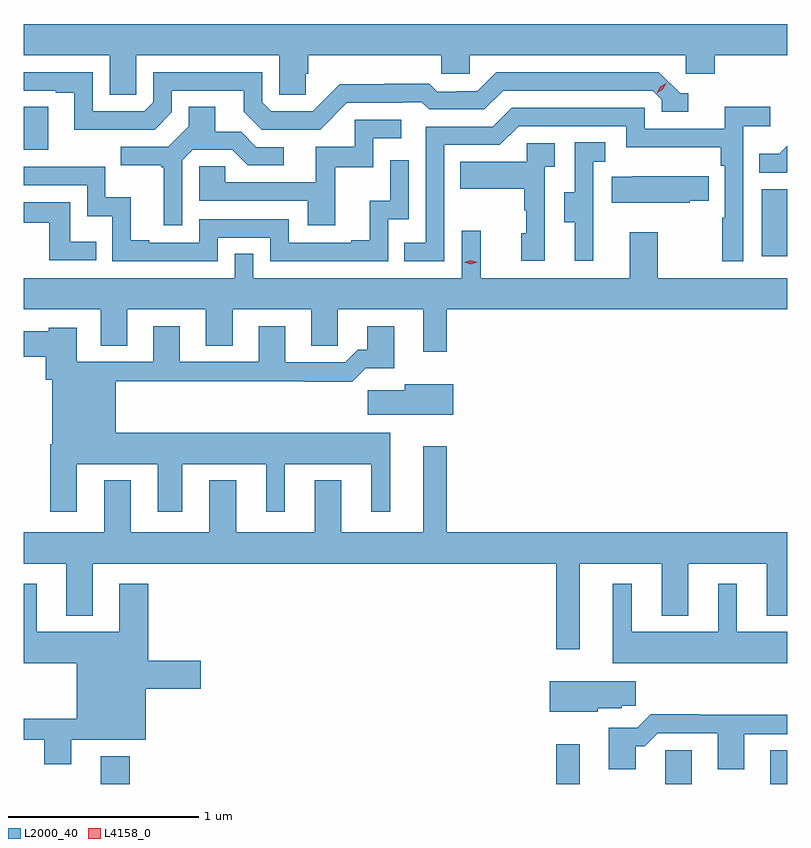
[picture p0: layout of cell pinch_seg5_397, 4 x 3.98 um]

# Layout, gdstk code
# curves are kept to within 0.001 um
import gdstk
lib = gdstk.Library(unit=1e-6, precision=1e-09)
def R(c, l, rs):  # rectangles x0, y0, x1, y1
    for r in rs: c.add(gdstk.rectangle(r[:2], r[2:], *l))
def P(c, l, *ps):  # polygons
    for p in ps: c.add(gdstk.Polygon(p, *l))
L2000_40 = (2000, 40)
L4158_0 = (4158, 0)

pinch_seg5_397 = lib.new_cell('pinch_seg5_397')
R(pinch_seg5_397, L2000_40, [(949.757,867.593,949.91,867.739), (952.146,867.593,952.267,867.802), (952.716,867.593,952.855,867.77), (953.267,867.593,953.355,867.77), (953.222,870.36,953.355,870.711), (949.355,870.918,949.483,871.142)])
P(pinch_seg5_397, L2000_40, [(949.944,871.412),(950.694,871.412),(950.694,871.204),(950.831,871.204),(950.831,871.314),(950.846,871.314),(950.846,871.412),(951.543,871.412),(951.543,871.314),(951.693,871.314),(951.693,871.412),(952.824,871.412),(952.824,871.314),(952.976,871.314),(952.976,871.412),(953.355,871.412),(953.355,871.576),(949.355,871.576),(949.355,871.412),(949.805,871.412),(949.805,871.204),(949.944,871.204)],
  [(949.824,871.023),(950.04,871.023),(950.13,871.113),(950.13,871.227),(950.507,871.227),(950.507,871.117),(950.601,871.023),(950.907,871.023),(951.048,871.164),(951.341,871.164),(951.341,871.167),(951.44,871.167),(951.479,871.128),(951.768,871.128),(951.867,871.227),(952.65,871.227),(952.698,871.179),(952.698,871.116),(952.837,871.116),(952.837,871.212),(952.794,871.212),(952.683,871.323),(951.83,871.323),(951.731,871.224),(951.624,871.224),(951.624,871.221),(951.521,871.221),(951.479,871.264),(951.246,871.264),(951.246,871.261),(951.01,871.261),(950.868,871.119),(950.652,871.119),(950.604,871.167),(950.604,871.323),(950.034,871.323),(950.034,871.167),(949.986,871.119),(949.716,871.119),(949.716,871.323),(949.355,871.323),(949.355,871.227),(949.523,871.227),(949.523,871.215),(949.619,871.215),(949.619,871.022)],
  [(951.558,870.942),(951.849,870.942),(951.948,871.041),(952.512,871.041),(952.512,870.929),(953.008,870.929),(953.008,870.833),(953.028,870.833),(953.028,870.56),(953.016,870.56),(953.016,870.333),(953.124,870.333),(953.124,871.04),(953.266,871.04),(953.266,871.142),(953.027,871.142),(953.027,871.026),(952.608,871.026),(952.608,871.137),(951.911,871.137),(951.812,871.038),(951.462,871.038),(951.462,870.429),(951.349,870.429),(951.349,870.333),(951.558,870.333)],
  [(950.184,870.861),(950.241,870.918),(950.447,870.918),(950.528,870.837),(950.716,870.837),(950.716,870.93),(950.574,870.93),(950.494,871.01),(950.359,871.01),(950.359,871.142),(950.219,871.142),(950.219,871.04),(950.112,870.933),(949.863,870.933),(949.863,870.836),(950.076,870.836),(950.076,870.825),(950.087,870.825),(950.087,870.522),(950.184,870.522)],
  [(950.987,870.825),(951.186,870.825),(951.186,870.978),(951.334,870.978),(951.334,871.074),(951.09,871.074),(951.09,870.933),(950.885,870.933),(950.885,870.747),(950.411,870.747),(950.411,870.831),(950.274,870.831),(950.274,870.651),(950.843,870.651),(950.843,870.522),(950.987,870.522)],
  [(952.34,870.549),(952.338,870.549),(952.338,870.853),(952.402,870.853),(952.402,870.956),(952.242,870.956),(952.242,870.693),(952.187,870.693),(952.187,870.538),(952.241,870.538),(952.241,870.336),(952.34,870.336)],
  [(952.086,870.827),(952.138,870.827),(952.138,870.951),(951.99,870.951),(951.99,870.853),(951.643,870.853),(951.643,870.713),(951.978,870.713),(951.978,870.599),(951.988,870.599),(951.988,870.48),(951.962,870.48),(951.962,870.336),(952.086,870.336)],
  [(953.355,870.798),(953.355,870.937),(953.313,870.895),(953.209,870.895),(953.209,870.796),(953.353,870.796)],
  [(950.37,870.456),(950.646,870.456),(950.646,870.333),(951.264,870.333),(951.264,870.552),(951.372,870.552),(951.372,870.862),(951.276,870.862),(951.276,870.65),(951.167,870.65),(951.167,870.442),(951.071,870.442),(951.071,870.429),(950.742,870.429),(950.742,870.552),(950.274,870.552),(950.274,870.429),(950.011,870.429),(950.011,870.442),(949.915,870.442),(949.915,870.667),(949.782,870.667),(949.782,870.828),(949.355,870.828),(949.355,870.732),(949.686,870.732),(949.686,870.569),(949.818,870.569),(949.818,870.333),(950.37,870.333)],
  [(952.845,870.649),(952.943,870.649),(952.943,870.778),(952.543,870.778),(952.543,870.775),(952.435,870.775),(952.435,870.638),(952.845,870.638)],
  [(949.733,870.436),(949.599,870.436),(949.599,870.642),(949.355,870.642),(949.355,870.534),(949.488,870.534),(949.488,870.339),(949.733,870.339)],
  [(951.571,870.08),(953.355,870.08),(953.355,870.244),(952.677,870.244),(952.677,870.484),(952.529,870.484),(952.529,870.244),(951.749,870.244),(951.749,870.493),(951.651,870.493),(951.651,870.244),(950.556,870.244),(950.556,870.371),(950.46,870.371),(950.46,870.244),(949.355,870.244),(949.355,870.08),(949.757,870.08),(949.757,869.89),(949.897,869.89),(949.897,870.08),(950.309,870.08),(950.309,869.89),(950.449,869.89),(950.449,870.08),(950.861,870.08),(950.861,869.89),(951,869.89),(951,870.08),(951.449,870.08),(951.449,869.859),(951.571,869.859)],
  [(949.633,869.27),(950.057,869.27),(950.057,869.019),(950.185,869.019),(950.185,869.27),(950.624,869.27),(950.624,869.019),(950.722,869.019),(950.722,869.27),(951.176,869.27),(951.176,869.019),(951.274,869.019),(951.274,869.434),(949.837,869.434),(949.837,869.704),(950.821,869.704),(950.821,869.702),(951.077,869.702),(951.146,869.771),(951.295,869.771),(951.295,869.992),(951.155,869.992),(951.155,869.869),(951.106,869.869),(951.039,869.802),(950.725,869.802),(950.725,869.992),(950.585,869.992),(950.585,869.805),(950.173,869.805),(950.173,869.992),(950.033,869.992),(950.033,869.805),(949.633,869.805),(949.633,869.983),(949.485,869.983),(949.485,869.965),(949.355,869.965),(949.355,869.831),(949.469,869.831),(949.469,869.712),(949.505,869.712),(949.505,869.374),(949.493,869.374),(949.493,869.019),(949.633,869.019)],
  [(951.604,869.689),(951.35,869.689),(951.35,869.657),(951.156,869.657),(951.156,869.528),(951.604,869.528)],
  [(952.267,868.748),(952.697,868.748),(952.697,868.475),(952.837,868.475),(952.837,868.748),(953.249,868.748),(953.249,868.475),(953.355,868.475),(953.355,868.912),(951.571,868.912),(951.571,869.362),(951.449,869.362),(951.449,868.912),(951.019,868.912),(951.019,869.185),(950.879,869.185),(950.879,868.912),(950.467,868.912),(950.467,869.185),(950.327,869.185),(950.327,868.912),(949.915,868.912),(949.915,869.185),(949.775,869.185),(949.775,868.912),(949.355,868.912),(949.355,868.748),(949.577,868.748),(949.577,868.475),(949.717,868.475),(949.717,868.748),(952.146,868.748),(952.146,868.299),(952.267,868.299)],
  [(953.355,868.39),(953.092,868.39),(953.092,868.642),(952.994,868.642),(952.994,868.39),(952.54,868.39),(952.54,868.642),(952.442,868.642),(952.442,868.226),(953.355,868.226)],
  [(949.603,867.824),(949.993,867.824),(949.993,868.091),(950.281,868.091),(950.281,868.238),(950.006,868.238),(950.006,868.642),(949.856,868.642),(949.856,868.39),(949.423,868.39),(949.423,868.642),(949.355,868.642),(949.355,868.226),(949.631,868.226),(949.631,867.934),(949.355,867.934),(949.355,867.825),(949.463,867.825),(949.463,867.696),(949.603,867.696)],
  [(952.362,867.989),(952.488,867.989),(952.488,868.003),(952.561,868.003),(952.561,868.132),(952.112,868.132),(952.112,867.971),(952.362,867.971)],
  [(952.561,867.791),(952.61,867.791),(952.677,867.858),(952.991,867.858),(952.991,867.669),(953.131,867.669),(953.131,867.855),(953.355,867.855),(953.355,867.956),(952.895,867.956),(952.895,867.959),(952.64,867.959),(952.569,867.888),(952.421,867.888),(952.421,867.669),(952.561,867.669)])
P(pinch_seg5_397, L4158_0, [(951.698,870.317),(951.663,870.327),(951.662,870.327),(951.663,870.327),(951.698,870.337),(951.733,870.327),(951.734,870.327),(951.733,870.327)],
  [(952.673,871.214),(952.673,871.214),(952.69,871.246),(952.721,871.265),(952.721,871.265),(952.721,871.265),(952.704,871.233),(952.673,871.214)])

lib.write_gds('pinch_seg5_397.gds')
